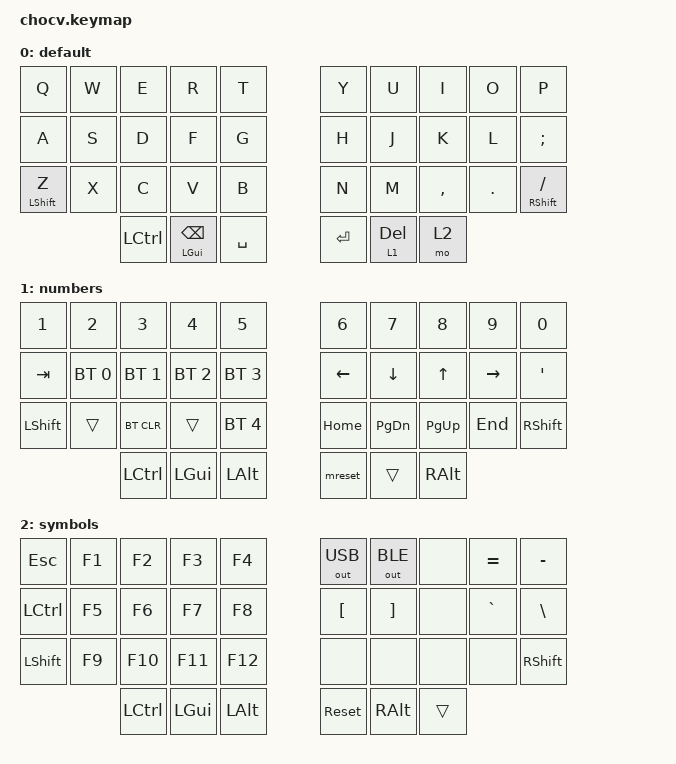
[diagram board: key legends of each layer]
/*
 * Copyright (c) 2020 The ZMK Contributors
 *
 * SPDX-License-Identifier: MIT
 */

#include <behaviors.dtsi>
#include <dt-bindings/zmk/keys.h>
#include <dt-bindings/zmk/bt.h>
#include <dt-bindings/zmk/outputs.h>

/ {
    behaviors {
        mreset: mod_reset {
            compatible = "zmk,behavior-mod-morph";
            label = "MOD_RESET";
            #binding-cells = <0>;
            bindings = <&none>, <&sys_reset>;
            mods = <(MOD_LGUI)>;
        };

        mbootloader: mod_bootloader {
            compatible = "zmk,behavior-mod-morph";
            label = "MOD_BOOTLOADER";
            #binding-cells = <0>;
            bindings = <&none>, <&bootloader>;
            mods = <(MOD_LGUI)>;
        };
    };

};

/ {
    keymap {
        compatible = "zmk,keymap";

        default {
// --------------------------------------------------------------------------------------------------------------------------------------------------------------------
//  Q    |  W  |  E  |  R  |  T  | |  Y  |  U  |  I  |    O    |  P   | 
//  A    |  S  |  D  |  F  |  G  | |  H  |  J  |  K  |    L    |  ;   | 
// Lsft/Z|  X  |  C  |  V  |  B  | |  N  |  M  |  ,  |    .    |Rsft//| 
//      | LCTL | Bspc/LGUI | SPACE | | Ent | Del/L1 | L2 |
           bindings = <
            &kp Q &kp W &kp E &kp R &kp T &kp Y &kp U &kp I &kp O &kp P
            &kp A &kp S &kp D &kp F &kp G &kp H &kp J &kp K &kp L &kp SEMI
            &mt LSHFT Z &kp X &kp C &kp V &kp B &kp N &kp M &kp COMMA &kp DOT &mt RSHFT FSLH
            &kp LCTRL &mt LGUI BSPC &kp SPACE &kp RET &lt 1 DEL &mo 2
            >;
        };
        numbers {
// --------------------------------------------------------------------------------------------------------------------------------------------------------------------
//  1  |   2  |  3     |  4  |  5  | |  6  |  7  |  8  |  9  |  0  |  
// TAB | BT1  | BT2    | BT3 | BT4 | |  <  |  v  |  ∧  |  >  |  '  |
// LSFT|      | BT_CLR |     | BT5 | | HOME| PGDN| PGUP| END | RSFT|
//            | LCTL   | LMOD| LALT| | RST | L1  | ALT |
           bindings = <
            &kp N1 &kp N2 &kp N3 &kp N4 &kp N5 &kp N6 &kp N7 &kp N8 &kp N9 &kp N0
            &kp TAB &bt BT_SEL 0 &bt BT_SEL 1 &bt BT_SEL 2 &bt BT_SEL 3 &kp LEFT &kp DOWN &kp UP &kp RIGHT &kp SQT
            &kp LSHFT &trans &bt BT_CLR &trans &bt BT_SEL 4 &kp HOME &kp PG_DN &kp PG_UP &kp END &kp RSHFT
            &kp LCTRL &kp LGUI &kp LALT &mreset &trans &kp RALT
            >;
        };
        symbols {
// --------------------------------------------------------------------------------------------------------------------------------------------------------------------
// ESC |  F1 |  F2 |  F3 |  F4 | | OUT_USB | OUT_BLE |        |  =  |  -   | 
// CTRL|  F5 |  F6 |  F7 |  F8 | |    [    |    ]    |        |  `  |  \   | 
// LSFT|  F9 | F10 | F11 | F12 | |         |         |        |     | RSFT |
//           | CTL | GUI | ALT | |  RESET  |   ALT   |   L2   |
           bindings = <
            &kp ESC &kp F1 &kp F2 &kp F3 &kp F4 &out OUT_USB &out OUT_BLE &none &kp EQUAL &kp MINUS
            &kp LCTRL &kp F5 &kp F6 &kp F7 &kp F8 &kp LBKT &kp RBKT &none &kp GRAVE &kp BSLH
            &kp LSHFT &kp F9 &kp F10 &kp F11 &kp F12 &none &none &none &none &kp RSHFT
            &kp LCTRL &kp LGUI &kp LALT &sys_reset &kp RALT &trans
           >;
        };
    };
};
